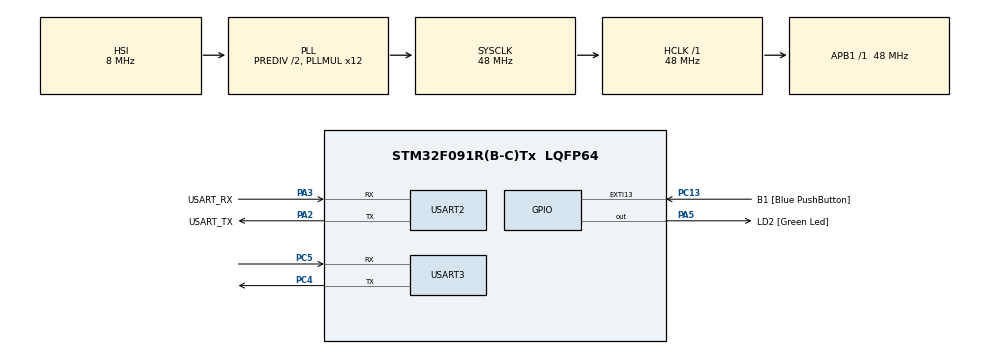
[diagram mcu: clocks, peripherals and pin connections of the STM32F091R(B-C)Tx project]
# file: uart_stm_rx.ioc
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Mcu.Family=STM32F0
Mcu.Name=STM32F091R(B-C)Tx
Mcu.Package=LQFP64
PA13.GPIO_Label=TMS
PA13.Mode=Serial_Wire
PA13.Signal=SYS_SWDIO
PA14.GPIO_Label=TCK
PA14.Mode=Serial_Wire
PA14.Signal=SYS_SWCLK
PA2.GPIO_Label=USART_TX
PA2.GPIO_Mode=GPIO_MODE_AF_PP
PA2.GPIO_PuPd=GPIO_NOPULL
PA2.GPIO_Speed=GPIO_SPEED_FREQ_LOW
PA2.Mode=Asynchronous
PA2.Signal=USART2_TX
PA3.GPIO_Label=USART_RX
PA3.GPIO_Mode=GPIO_MODE_AF_PP
PA3.GPIO_PuPd=GPIO_NOPULL
PA3.GPIO_Speed=GPIO_SPEED_FREQ_LOW
PA3.Mode=Asynchronous
PA3.Signal=USART2_RX
PA5.GPIO_Label=LD2 [Green Led]
PA5.GPIO_Mode=GPIO_MODE_OUTPUT_PP
PA5.GPIO_PuPd=GPIO_NOPULL
PA5.GPIO_Speed=GPIO_SPEED_FREQ_LOW
PA5.Signal=GPIO_Output
PC13.GPIO_Label=B1 [Blue PushButton]
PC13.GPIO_ModeDefaultEXTI=GPIO_MODE_IT_FALLING
PC13.Signal=GPXTI13
PC14OSC32_IN.Mode=LSE-External-Oscillator
PC14OSC32_IN.Signal=RCC_OSC32_IN
PC15OSC32_OUT.Mode=LSE-External-Oscillator
PC15OSC32_OUT.Signal=RCC_OSC32_OUT
PC4.Mode=Asynchronous
PC4.Signal=USART3_TX
PC5.Mode=Asynchronous
PC5.Signal=USART3_RX
PF0-OSC_IN.Mode=HSE-External-Clock-Source
PF0-OSC_IN.Signal=RCC_OSC_IN
PF1-OSC_OUT.Signal=RCC_OSC_OUT
ProjectManager.HeapSize=0x200
ProjectManager.StackSize=0x400
ProjectManager.TargetToolchain=STM32CubeIDE
RCC.AHBFreq_Value=48000000
RCC.APB1Freq_Value=48000000
RCC.APB1TimFreq_Value=48000000
RCC.FLatency-AdvancedSettings=FLASH_LATENCY_1
RCC.HCLKFreq_Value=48000000
RCC.PLLDivider=RCC_PREDIV_DIV2
RCC.PLLMUL=RCC_PLL_MUL12
RCC.PREFETCH_ENABLE-AdvancedSettings=1
RCC.SYSCLKFreq_VALUE=48000000
RCC.SYSCLKSource=RCC_SYSCLKSOURCE_PLLCLK
USART2.VirtualMode=VM_ASYNC
USART2.VirtualMode-Asynchronous=VM_ASYNC
USART3.VirtualMode-Asynchronous=VM_ASYNC
board=NUCLEO-F091RC

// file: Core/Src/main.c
/* USER CODE BEGIN Header */
/**
  ******************************************************************************
  * @file           : main.c
  * @brief          : Main program body
  ******************************************************************************
  * @attention
  *
  * Copyright (c) 2022 STMicroelectronics.
  * All rights reserved.
  *
  * This software is licensed under terms that can be found in the LICENSE file
  * in the root directory of this software component.
  * If no LICENSE file comes with this software, it is provided AS-IS.
  *
  ******************************************************************************
  */
/* USER CODE END Header */
#include "main.h"

/* USER CODE BEGIN Includes */
#include "stdio.h"
#include "stdlib.h"
#include "math.h"
/* USER CODE END Includes */

/* USER CODE BEGIN PM */
#define L_OHM 175000
#define KRYPTON_GAS_CONSTANT 0.605
#define VDC_CONSTANT 0.0012
#define PSI_CONSTANT 19.992
#define PSI_CONSTANT_A 0.1266
#define PSI_CONSTANT_B 1.3
#define PSI_CONSTANT_C 1000000
#define PSI_CONSTANT_D 60
/* USER CODE END PM */

UART_HandleTypeDef huart2;
UART_HandleTypeDef huart3;

/* USER CODE BEGIN PV */
int relation_temp;
double mass_flow_values;
char pfcv_set_point[4];
int set_point_pfcv;
float  set_point_initial;
double set_point;
float v_dc;
float psi;
/* USER CODE END PV */

void SystemClock_Config(void);
static void MX_GPIO_Init(void);
static void MX_USART2_UART_Init(void);
static void MX_USART3_UART_Init(void);

/* USER CODE BEGIN 0 */
uint8_t rx[49];
int count,count1,count2;
uint8_t set_point_[6] = {"A    \r"};
char newsetpoint[5];
float store;
/* USER CODE END 0 */

int main(void)
{

  /* MCU Configuration--------------------------------------------------------*/

  /* Reset of all peripherals, Initializes the Flash interface and the Systick. */
  HAL_Init();

  /* Configure the system clock */
  SystemClock_Config();

  /* Initialize all configured peripherals */
  MX_GPIO_Init();
  MX_USART2_UART_Init();
  MX_USART3_UART_Init();

  /* Infinite loop */
  while (1)
  {

    /* USER CODE BEGIN 3 */
	  v_dc = VDC_CONSTANT * 4000;
	  	psi  = (PSI_CONSTANT * v_dc) - PSI_CONSTANT_A;
	  	relation_temp = sqrt(530/(32 + 460));
	  	set_point_initial =  (KRYPTON_GAS_CONSTANT *  relation_temp  * psi * PSI_CONSTANT_B * PSI_CONSTANT_C) ;
	  	set_point = set_point_initial / ( L_OHM * PSI_CONSTANT_D );
	  	set_point_pfcv = (set_point * 64000) / 100;
	  	itoa(set_point_pfcv, pfcv_set_point, 10);
	  	set_point_[1] = pfcv_set_point[0];
	  	set_point_[2] = pfcv_set_point[1];
	  	set_point_[3] = pfcv_set_point[2];
	  	set_point_[4] = pfcv_set_point[3];
	  	HAL_UART_Transmit(&huart3, set_point_, 6, 100);
	  	 /*store = (3.7 * 64000)/100;
	     //store = 12345;
	  	 itoa(store, newsetpoint,10);
	  	 setpoint[1] = newsetpoint[0];
	  	 setpoint[2] = newsetpoint[1];
	  	 setpoint[3] = newsetpoint[2];
	  	 setpoint[4] = newsetpoint[3];
	  	 setpoint[5] = newsetpoint[4];
	  	 HAL_UART_Transmit(&huart3, setpoint, 7, 100);
	  	 HAL_Delay(5000);*/
	  HAL_UART_Receive(&huart3, rx, 49, 100);
	  /*count1++;
	  if (rx[0] == 48) {

		  count ++;
		  HAL_GPIO_WritePin(GPIOA, GPIO_PIN_1, 0);
		  count1 ++;

	  }
	  else if (rx[0] == 49){
		  HAL_GPIO_WritePin(GPIOA, GPIO_PIN_1, 1);
		  count2 ++;
	  }*/
  }
  /* USER CODE END 3 */
}

void SystemClock_Config(void)
{
  RCC_OscInitTypeDef RCC_OscInitStruct = {0};
  RCC_ClkInitTypeDef RCC_ClkInitStruct = {0};
  RCC_PeriphCLKInitTypeDef PeriphClkInit = {0};

  /** Initializes the RCC Oscillators according to the specified parameters
  * in the RCC_OscInitTypeDef structure.
  */
  RCC_OscInitStruct.OscillatorType = RCC_OSCILLATORTYPE_HSI;
  RCC_OscInitStruct.HSIState = RCC_HSI_ON;
  RCC_OscInitStruct.HSICalibrationValue = RCC_HSICALIBRATION_DEFAULT;
  RCC_OscInitStruct.PLL.PLLState = RCC_PLL_ON;
  RCC_OscInitStruct.PLL.PLLSource = RCC_PLLSOURCE_HSI;
  RCC_OscInitStruct.PLL.PLLMUL = RCC_PLL_MUL12;
  RCC_OscInitStruct.PLL.PREDIV = RCC_PREDIV_DIV2;
  if (HAL_RCC_OscConfig(&RCC_OscInitStruct) != HAL_OK)
  {
    Error_Handler();
  }
  /** Initializes the CPU, AHB and APB buses clocks
  */
  RCC_ClkInitStruct.ClockType = RCC_CLOCKTYPE_HCLK|RCC_CLOCKTYPE_SYSCLK
                              |RCC_CLOCKTYPE_PCLK1;
  RCC_ClkInitStruct.SYSCLKSource = RCC_SYSCLKSOURCE_PLLCLK;
  RCC_ClkInitStruct.AHBCLKDivider = RCC_SYSCLK_DIV1;
  RCC_ClkInitStruct.APB1CLKDivider = RCC_HCLK_DIV1;

  if (HAL_RCC_ClockConfig(&RCC_ClkInitStruct, FLASH_LATENCY_1) != HAL_OK)
  {
    Error_Handler();
  }
  PeriphClkInit.PeriphClockSelection = RCC_PERIPHCLK_USART3|RCC_PERIPHCLK_USART2;
  PeriphClkInit.Usart2ClockSelection = RCC_USART2CLKSOURCE_PCLK1;
  PeriphClkInit.Usart3ClockSelection = RCC_USART3CLKSOURCE_PCLK1;
  if (HAL_RCCEx_PeriphCLKConfig(&PeriphClkInit) != HAL_OK)
  {
    Error_Handler();
  }
}

static void MX_USART2_UART_Init(void)
{

  huart2.Instance = USART2;
  huart2.Init.BaudRate = 115200;
  huart2.Init.WordLength = UART_WORDLENGTH_8B;
  huart2.Init.StopBits = UART_STOPBITS_1;
  huart2.Init.Parity = UART_PARITY_NONE;
  huart2.Init.Mode = UART_MODE_TX_RX;
  huart2.Init.HwFlowCtl = UART_HWCONTROL_NONE;
  huart2.Init.OverSampling = UART_OVERSAMPLING_16;
  huart2.Init.OneBitSampling = UART_ONE_BIT_SAMPLE_DISABLE;
  huart2.AdvancedInit.AdvFeatureInit = UART_ADVFEATURE_NO_INIT;
  if (HAL_UART_Init(&huart2) != HAL_OK)
  {
    Error_Handler();
  }

}

static void MX_USART3_UART_Init(void)
{

  huart3.Instance = USART3;
  huart3.Init.BaudRate = 115200;
  huart3.Init.WordLength = UART_WORDLENGTH_8B;
  huart3.Init.StopBits = UART_STOPBITS_1;
  huart3.Init.Parity = UART_PARITY_NONE;
  huart3.Init.Mode = UART_MODE_TX_RX;
  huart3.Init.HwFlowCtl = UART_HWCONTROL_NONE;
  huart3.Init.OverSampling = UART_OVERSAMPLING_16;
  huart3.Init.OneBitSampling = UART_ONE_BIT_SAMPLE_DISABLE;
  huart3.AdvancedInit.AdvFeatureInit = UART_ADVFEATURE_NO_INIT;
  if (HAL_UART_Init(&huart3) != HAL_OK)
  {
    Error_Handler();
  }

}

static void MX_GPIO_Init(void)
{
  GPIO_InitTypeDef GPIO_InitStruct = {0};

  /* GPIO Ports Clock Enable */
  __HAL_RCC_GPIOC_CLK_ENABLE();
  __HAL_RCC_GPIOF_CLK_ENABLE();
  __HAL_RCC_GPIOA_CLK_ENABLE();

  /*Configure GPIO pin Output Level */
  HAL_GPIO_WritePin(LD2_GPIO_Port, LD2_Pin, GPIO_PIN_RESET);

  /*Configure GPIO pin : B1_Pin */
  GPIO_InitStruct.Pin = B1_Pin;
  GPIO_InitStruct.Mode = GPIO_MODE_IT_FALLING;
  GPIO_InitStruct.Pull = GPIO_NOPULL;
  HAL_GPIO_Init(B1_GPIO_Port, &GPIO_InitStruct);

  /*Configure GPIO pin : LD2_Pin */
  GPIO_InitStruct.Pin = LD2_Pin;
  GPIO_InitStruct.Mode = GPIO_MODE_OUTPUT_PP;
  GPIO_InitStruct.Pull = GPIO_NOPULL;
  GPIO_InitStruct.Speed = GPIO_SPEED_FREQ_LOW;
  HAL_GPIO_Init(LD2_GPIO_Port, &GPIO_InitStruct);

}

void Error_Handler(void)
{
  __disable_irq();
  while (1)
  {
  }
}
